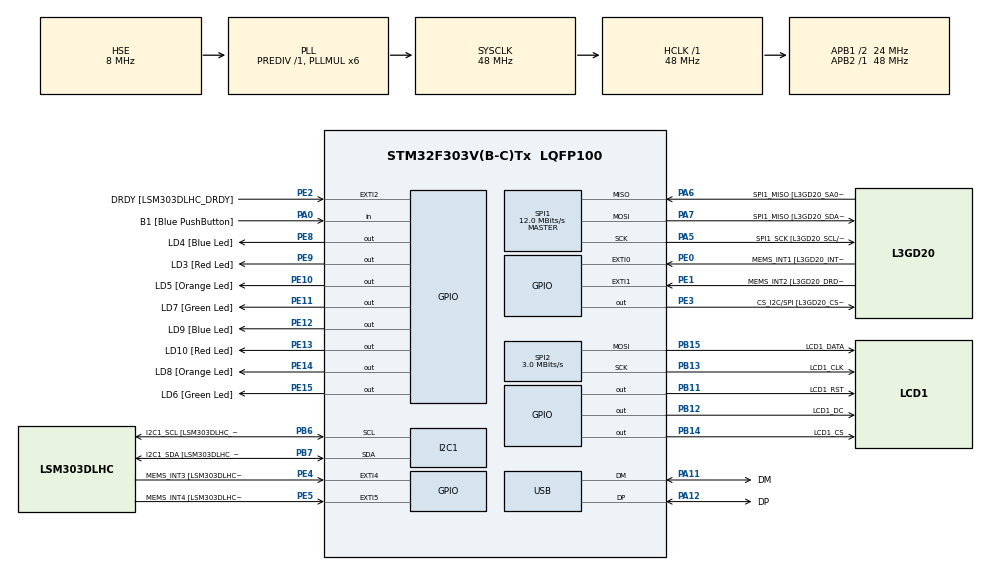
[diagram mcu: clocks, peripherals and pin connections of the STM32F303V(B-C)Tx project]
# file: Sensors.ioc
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I2C1.Timing=0x2000090E
I2C1.Timing-I2C=0x2000090E
Mcu.Family=STM32F3
Mcu.Name=STM32F303V(B-C)Tx
Mcu.Package=LQFP100
NVIC.PriorityGroup=NVIC_PRIORITYGROUP_0
PA0.GPIO_Label=B1 [Blue PushButton]
PA0.Signal=GPIO_Input
PA11.GPIO_Label=DM
PA11.Mode=Device
PA11.Signal=USB_DM
PA12.GPIO_Label=DP
PA12.Mode=Device
PA12.Signal=USB_DP
PA13.GPIO_Label=SWDIO
PA13.Mode=Serial_Wire
PA13.Signal=SYS_JTMS-SWDIO
PA14.GPIO_Label=SWCLK
PA14.Mode=Serial_Wire
PA14.Signal=SYS_JTCK-SWCLK
PA5.GPIO_Label=SPI1_SCK [L3GD20_SCL/SPC]
PA5.Mode=Full_Duplex_Master
PA5.Signal=SPI1_SCK
PA6.GPIO_Label=SPI1_MISO [L3GD20_SA0/SDO]
PA6.Mode=Full_Duplex_Master
PA6.Signal=SPI1_MISO
PA7.GPIO_Label=SPI1_MISO [L3GD20_SDA/SDI/SDO]
PA7.Mode=Full_Duplex_Master
PA7.Signal=SPI1_MOSI
PB11.GPIO_Label=LCD1_RST
PB11.Signal=GPIO_Output
PB12.GPIO_Label=LCD1_DC
PB12.Signal=GPIO_Output
PB13.GPIO_Label=LCD1_CLK
PB13.Mode=TX_Only_Simplex_Unidirect_Master
PB13.Signal=SPI2_SCK
PB14.GPIO_Label=LCD1_CS
PB14.Signal=GPIO_Output
PB15.GPIO_Label=LCD1_DATA
PB15.Mode=TX_Only_Simplex_Unidirect_Master
PB15.Signal=SPI2_MOSI
PB3.GPIO_Label=SWO
PB3.Signal=SYS_JTDO-TRACESWO
PB6.GPIO_Label=I2C1_SCL [LSM303DLHC_SCL]
PB6.Mode=I2C
PB6.Signal=I2C1_SCL
PB7.GPIO_Label=I2C1_SDA [LSM303DLHC_SDA]
PB7.Mode=I2C
PB7.Signal=I2C1_SDA
PC14-OSC32_IN.GPIO_Label=OSC32_IN
PC14-OSC32_IN.Signal=RCC_OSC32_IN
PC15-OSC32_OUT.GPIO_Label=OSC32_OUT
PC15-OSC32_OUT.Signal=RCC_OSC32_OUT
PE0.GPIO_Label=MEMS_INT1 [L3GD20_INT1]
PE0.GPIO_ModeDefaultEXTI=GPIO_MODE_EVT_RISING
PE0.Signal=GPXTI0
PE1.GPIO_Label=MEMS_INT2 [L3GD20_DRDY/INT2]
PE1.GPIO_ModeDefaultEXTI=GPIO_MODE_EVT_RISING
PE1.Signal=GPXTI1
PE10.GPIO_Label=LD5 [Orange Led]
PE10.Signal=GPIO_Output
PE11.GPIO_Label=LD7 [Green Led]
PE11.Signal=GPIO_Output
PE12.GPIO_Label=LD9 [Blue Led]
PE12.Signal=GPIO_Output
PE13.GPIO_Label=LD10 [Red Led]
PE13.Signal=GPIO_Output
PE14.GPIO_Label=LD8 [Orange Led]
PE14.Signal=GPIO_Output
PE15.GPIO_Label=LD6 [Green Led]
PE15.Signal=GPIO_Output
PE2.GPIO_Label=DRDY [LSM303DLHC_DRDY]
PE2.GPIO_ModeDefaultEXTI=GPIO_MODE_EVT_RISING
PE2.Signal=GPXTI2
PE3.GPIO_Label=CS_I2C/SPI [L3GD20_CS_I2C/SPI]
PE3.Signal=GPIO_Output
PE4.GPIO_Label=MEMS_INT3 [LSM303DLHC_INT1]
PE4.GPIO_ModeDefaultEXTI=GPIO_MODE_EVT_RISING
PE4.Signal=GPXTI4
PE5.GPIO_Label=MEMS_INT4 [LSM303DLHC_INT2]
PE5.GPIO_ModeDefaultEXTI=GPIO_MODE_EVT_RISING
PE5.Signal=GPXTI5
PE8.GPIO_Label=LD4 [Blue Led]
PE8.Signal=GPIO_Output
PE9.GPIO_Label=LD3 [Red Led]
PE9.Signal=GPIO_Output
PF0-OSC_IN.GPIO_Label=OSC_IN
PF0-OSC_IN.Mode=HSE-External-Clock-Source
PF0-OSC_IN.Signal=RCC_OSC_IN
PF1-OSC_OUT.GPIO_Label=OSC_OUT
PF1-OSC_OUT.Signal=RCC_OSC_OUT
ProjectManager.HeapSize=0x200
ProjectManager.StackSize=0x400
ProjectManager.TargetToolchain=SW4STM32
RCC.AHBFreq_Value=48000000
RCC.APB1CLKDivider=RCC_HCLK_DIV2
RCC.APB1Freq_Value=24000000
RCC.APB1TimFreq_Value=48000000
RCC.APB2Freq_Value=48000000
RCC.APB2TimFreq_Value=48000000
RCC.CortexFreq_Value=48000000
RCC.HCLKFreq_Value=48000000
RCC.HSE_VALUE=8000000
RCC.HSI_VALUE=8000000
RCC.LSE_VALUE=32768
RCC.PLLMUL=RCC_PLL_MUL6
RCC.SYSCLKFreq_VALUE=48000000
RCC.SYSCLKSourceVirtual=RCC_SYSCLKSOURCE_PLLCLK
RCC.USBFreq_Value=48000000
SPI1.BaudRatePrescaler=SPI_BAUDRATEPRESCALER_4
SPI1.BaudRatePrescaler-Full_Duplex_Master=SPI_BAUDRATEPRESCALER_2
SPI1.CalculateBaudRate=12.0 MBits/s
SPI1.CalculateBaudRate-Full_Duplex_Master=24.0 MBits/s
SPI1.Direction=SPI_DIRECTION_2LINES
SPI1.Mode=SPI_MODE_MASTER
SPI1.Mode-Full_Duplex_Master=SPI_MODE_MASTER
SPI1.VirtualType=VM_MASTER
SPI2.BaudRatePrescaler=SPI_BAUDRATEPRESCALER_8
SPI2.CalculateBaudRate=3.0 MBits/s
SPI2.DataSize=SPI_DATASIZE_8BIT
SPI2.Direction=SPI_DIRECTION_2LINES
SPI2.Mode=SPI_MODE_MASTER
SPI2.VirtualType=VM_MASTER
board=STM32F3DISCOVERY

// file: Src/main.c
/**
  ******************************************************************************
  * @file           : main.c
  * @brief          : Main program body
  ******************************************************************************
  ** This notice applies to any and all portions of this file
  * that are not between comment pairs USER CODE BEGIN and
  * USER CODE END. Other portions of this file, whether
  * inserted by the user or by software development tools
  * are owned by their respective copyright owners.
  *
  * COPYRIGHT(c) 2019 STMicroelectronics
  *
  * Redistribution and use in source and binary forms, with or without modification,
  * are permitted provided that the following conditions are met:
  *   1. Redistributions of source code must retain the above copyright notice,
  *      this list of conditions and the following disclaimer.
  *   2. Redistributions in binary form must reproduce the above copyright notice,
  *      this list of conditions and the following disclaimer in the documentation
  *      and/or other materials provided with the distribution.
  *   3. Neither the name of STMicroelectronics nor the names of its contributors
  *      may be used to endorse or promote products derived from this software
  *      without specific prior written permission.
  *
  * THIS SOFTWARE IS PROVIDED BY THE COPYRIGHT HOLDERS AND CONTRIBUTORS "AS IS"
  * AND ANY EXPRESS OR IMPLIED WARRANTIES, INCLUDING, BUT NOT LIMITED TO, THE
  * IMPLIED WARRANTIES OF MERCHANTABILITY AND FITNESS FOR A PARTICULAR PURPOSE ARE
  * DISCLAIMED. IN NO EVENT SHALL THE COPYRIGHT HOLDER OR CONTRIBUTORS BE LIABLE
  * FOR ANY DIRECT, INDIRECT, INCIDENTAL, SPECIAL, EXEMPLARY, OR CONSEQUENTIAL
  * DAMAGES (INCLUDING, BUT NOT LIMITED TO, PROCUREMENT OF SUBSTITUTE GOODS OR
  * SERVICES; LOSS OF USE, DATA, OR PROFITS; OR BUSINESS INTERRUPTION) HOWEVER
  * CAUSED AND ON ANY THEORY OF LIABILITY, WHETHER IN CONTRACT, STRICT LIABILITY,
  * OR TORT (INCLUDING NEGLIGENCE OR OTHERWISE) ARISING IN ANY WAY OUT OF THE USE
  * OF THIS SOFTWARE, EVEN IF ADVISED OF THE POSSIBILITY OF SUCH DAMAGE.
  *
  ******************************************************************************
  */
#include <math.h>
#include "main.h"
#include "stm32f3xx_hal.h"
#include "i2c.h"
#include "spi.h"
#include "usb.h"
#include "gpio.h"

/* USER CODE BEGIN Includes */
#include "lcd5110.h"
#include "stm32f3_discovery_accelerometer.h"
#include "stm32f3_discovery_gyroscope.h"
#include "lsm303dlhc.h"
#include "stdio.h"
/* USER CODE END Includes */

/* USER CODE BEGIN PV */
/* Private variables ---------------------------------------------------------*/

/* USER CODE END PV */

void SystemClock_Config(void);

/* USER CODE BEGIN PFP */
/* Private function prototypes -----------------------------------------------*/

/* USER CODE END PFP */

/* USER CODE BEGIN 0 */
LCD5110_display lcd1;
/* USER CODE END 0 */

int main(void)
{

  /* MCU Configuration----------------------------------------------------------*/

  /* Reset of all peripherals, Initializes the Flash interface and the Systick. */
  HAL_Init();

  /* Configure the system clock */
  SystemClock_Config();

  /* Initialize all configured peripherals */
  MX_GPIO_Init();
  MX_I2C1_Init();
  MX_SPI1_Init();
  MX_USB_PCD_Init();
  MX_SPI2_Init();
  /* USER CODE BEGIN 2 */
    lcd1.hw_conf.spi_handle = &hspi2;
    lcd1.hw_conf.spi_cs_pin =  LCD1_CS_Pin;
    lcd1.hw_conf.spi_cs_port = LCD1_CS_GPIO_Port;
    lcd1.hw_conf.rst_pin =  LCD1_RST_Pin;
    lcd1.hw_conf.rst_port = LCD1_RST_GPIO_Port;
    lcd1.hw_conf.dc_pin =  LCD1_DC_Pin;
    lcd1.hw_conf.dc_port = LCD1_DC_GPIO_Port;
    lcd1.def_scr = lcd5110_def_scr;
    LCD5110_init(&lcd1.hw_conf, LCD5110_NORMAL_MODE, 0x40, 2, 3);

    if(BSP_ACCELERO_Init() != HAL_OK)
    {
        LCD5110_print("Accelerometer init error\n", BLACK, &lcd1);
        while(1){}
    }

    if(BSP_GYRO_Init() != HAL_OK)
    {
        LCD5110_print("Gyroscope init error\n", BLACK, &lcd1);
        while(1){}
    }

    int16_t accelo[3] = {0};
    float gyro[3] = {0};
  /* USER CODE END 2 */

  /* Infinite loop */
  /* USER CODE BEGIN WHILE */
  while (1)
  {
      BSP_ACCELERO_GetXYZ(accelo);
      BSP_GYRO_GetXYZ(gyro);

      char str1[100];
      char str2[100];

      double acce_x = (double)(accelo[0]/16)/1000.0;
      double acce_y = (double)(accelo[1]/16)/1000.0;
      double acce_z = (double)(accelo[2]/16)/1000.0;

      float gyro_x = (float)(gyro[0]/1000.0);
      float gyro_y = (float)(gyro[1]/1000.0);
      float gyro_z = (float)(gyro[2]/1000.0);

      sprintf(str1, "Accelerometr\n X: %d.%d\n Y: %d.%d\n Z: %d.%d\n",
              (int)acce_x, (int)((acce_x - (int)acce_x) * 100000),
              (int)acce_y, (int)((acce_y - (int)acce_y) * 100000),
              (int)acce_z, (int)((acce_z - (int)acce_x) * 100000));

      sprintf(str2, "Gyroscope\n X: %d.%d\n Y: %d.%d\n Z: %d.%d\n",
              (int)gyro_x, (int)((gyro_x - (int)gyro_x) * 100000),
              (int)gyro_y, (int)((gyro_y - (int)gyro_y) * 100000),
              (int)gyro_z, (int)((gyro_z - (int)gyro_x) * 100000));

      LCD5110_clrscr(&lcd1);
      LCD5110_set_cursor(0, 0, &lcd1);
      LCD5110_print(str2, BLACK, &lcd1);
      LCD5110_refresh(&lcd1);
      HAL_Delay(100);
  /* USER CODE END WHILE */

  }

}

void SystemClock_Config(void)
{

  RCC_OscInitTypeDef RCC_OscInitStruct;
  RCC_ClkInitTypeDef RCC_ClkInitStruct;
  RCC_PeriphCLKInitTypeDef PeriphClkInit;

    /**Initializes the CPU, AHB and APB busses clocks
    */
  RCC_OscInitStruct.OscillatorType = RCC_OSCILLATORTYPE_HSI|RCC_OSCILLATORTYPE_HSE;
  RCC_OscInitStruct.HSEState = RCC_HSE_BYPASS;
  RCC_OscInitStruct.HSEPredivValue = RCC_HSE_PREDIV_DIV1;
  RCC_OscInitStruct.HSIState = RCC_HSI_ON;
  RCC_OscInitStruct.HSICalibrationValue = 16;
  RCC_OscInitStruct.PLL.PLLState = RCC_PLL_ON;
  RCC_OscInitStruct.PLL.PLLSource = RCC_PLLSOURCE_HSE;
  RCC_OscInitStruct.PLL.PLLMUL = RCC_PLL_MUL6;
  if (HAL_RCC_OscConfig(&RCC_OscInitStruct) != HAL_OK)
  {
    _Error_Handler(__FILE__, __LINE__);
  }

    /**Initializes the CPU, AHB and APB busses clocks
    */
  RCC_ClkInitStruct.ClockType = RCC_CLOCKTYPE_HCLK|RCC_CLOCKTYPE_SYSCLK
                              |RCC_CLOCKTYPE_PCLK1|RCC_CLOCKTYPE_PCLK2;
  RCC_ClkInitStruct.SYSCLKSource = RCC_SYSCLKSOURCE_PLLCLK;
  RCC_ClkInitStruct.AHBCLKDivider = RCC_SYSCLK_DIV1;
  RCC_ClkInitStruct.APB1CLKDivider = RCC_HCLK_DIV2;
  RCC_ClkInitStruct.APB2CLKDivider = RCC_HCLK_DIV1;

  if (HAL_RCC_ClockConfig(&RCC_ClkInitStruct, FLASH_LATENCY_1) != HAL_OK)
  {
    _Error_Handler(__FILE__, __LINE__);
  }

  PeriphClkInit.PeriphClockSelection = RCC_PERIPHCLK_USB|RCC_PERIPHCLK_I2C1;
  PeriphClkInit.I2c1ClockSelection = RCC_I2C1CLKSOURCE_HSI;
  PeriphClkInit.USBClockSelection = RCC_USBCLKSOURCE_PLL;
  if (HAL_RCCEx_PeriphCLKConfig(&PeriphClkInit) != HAL_OK)
  {
    _Error_Handler(__FILE__, __LINE__);
  }

    /**Configure the Systick interrupt time
    */
  HAL_SYSTICK_Config(HAL_RCC_GetHCLKFreq()/1000);

    /**Configure the Systick
    */
  HAL_SYSTICK_CLKSourceConfig(SYSTICK_CLKSOURCE_HCLK);

  /* SysTick_IRQn interrupt configuration */
  HAL_NVIC_SetPriority(SysTick_IRQn, 0, 0);
}

void _Error_Handler(char *file, int line)
{
  while(1)
  {
  }
}

/************************ (C) COPYRIGHT STMicroelectronics *****END OF FILE****/
